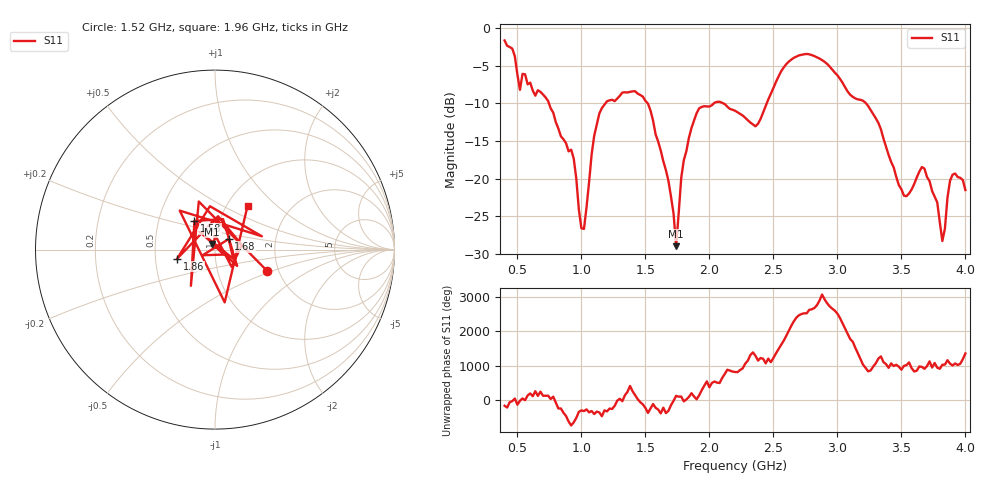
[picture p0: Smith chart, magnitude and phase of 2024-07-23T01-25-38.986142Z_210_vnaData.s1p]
!Created with skrf (http://scikit-rf.org).
# Hz S RI R 50.0
!freq ReS11 ImS11
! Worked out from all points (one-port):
!   181 points, 400 MHz to 4 GHz, reference 50 ohm
!   lowest |S11| = -29.0 dB at 1.74 GHz (marker M1), VSWR 1.07, Z = 48.4 + j3.1 ohm
!   |S11| at or under -10 dB: 746.2 MHz to 1.188 GHz (441.7 MHz wide, 45.7 % of centre); 1.518 GHz to 2.035 GHz (517.2 MHz wide, 29.1 % of centre); 3.223 GHz to end of sweep (the widest 3 of 4)
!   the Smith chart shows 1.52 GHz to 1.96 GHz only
!   S11 on the Smith chart (normalised r, x): 1.52 GHz: 1.74, -0.46; 1.58 GHz: 0.76, +0.25; 1.68 GHz: 1.16, +0.14; 1.86 GHz: 0.65, -0.07; 1.96 GHz: 1.25, +0.66
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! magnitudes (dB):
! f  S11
! 400 MHz  -1.6
! 480 MHz  -3.7
! 520 MHz  -8.2
! 720 MHz  -9.2
! 860 MHz  -14.8
! 940 MHz  -17.4
! 1.02 GHz  -26.7
! 1.14 GHz  -11.4
! 1.3 GHz  -9.0
! 1.52 GHz  -10.0
! 1.58 GHz  -14.1
! 1.68 GHz  -20.3
! 1.74 GHz  -29.0
! 1.76 GHz  -24.6
! 1.8 GHz  -17.6
! 1.86 GHz  -13.3
! 1.96 GHz  -10.4
! 2.2 GHz  -11.0
! 2.36 GHz  -13.1
! 2.66 GHz  -3.9
! 3.1 GHz  -8.9
! 3.3 GHz  -12.0
! 3.56 GHz  -22.0
! 3.68 GHz  -18.7
! 3.78 GHz  -23.2
! 3.82 GHz  -28.3
! 3.9 GHz  -19.5
! 4 GHz  -21.5
